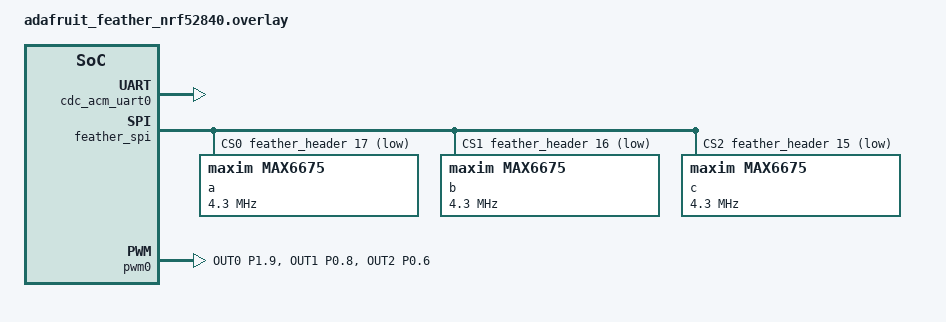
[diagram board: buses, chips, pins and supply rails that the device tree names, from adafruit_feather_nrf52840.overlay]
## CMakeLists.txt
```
#
# Copyright (c) 2020 Nordic Semiconductor ASA
#
# SPDX-License-Identifier: LicenseRef-Nordic-5-Clause
#
cmake_minimum_required(VERSION 3.20.0)

find_package(Zephyr REQUIRED HINTS $ENV{ZEPHYR_BASE})

project(openthread_coap_client)

# NORDIC SDK APP START
FILE(GLOB app_sources src/*.c)
target_sources(app PRIVATE ${app_sources})

target_include_directories(app PUBLIC ../coap_server/interface)
# NORDIC SDK APP END

target_sources_ifdef(CONFIG_BT_NUS app PRIVATE src/ble_utils.c)
```

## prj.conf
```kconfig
#
# Copyright (c) 2020 Nordic Semiconductor
#
# SPDX-License-Identifier: LicenseRef-Nordic-5-Clause
#

# nRF board library
CONFIG_DK_LIBRARY=y

# Enable CoAP utils and CoAP protocol
CONFIG_COAP_UTILS=y

# Configure sample logging setting
CONFIG_LOG=y
CONFIG_COAP_CLIENT_LOG_LEVEL_DBG=y
CONFIG_COAP_CLIENT_UTILS_LOG_LEVEL_DBG=y
CONFIG_COAP_UTILS_LOG_LEVEL_DBG=y
CONFIG_OPENTHREAD_LOG_LEVEL_NOTE=y
CONFIG_OPENTHREAD_DEBUG=y

# Adjust log strdup settings

# Generic networking options
CONFIG_NETWORKING=y

# L2 OpenThread enabling
CONFIG_NET_L2_OPENTHREAD=y

# Network shell
CONFIG_SHELL=y
CONFIG_OPENTHREAD_SHELL=y
CONFIG_SHELL_ARGC_MAX=26
CONFIG_SHELL_CMD_BUFF_SIZE=416

# Network sockets
CONFIG_NET_SOCKETS=y
CONFIG_NET_SOCKETS_POSIX_NAMES=y
CONFIG_NET_SOCKETS_POLL_MAX=4

# Same network Master Key for client and server
CONFIG_OPENTHREAD_NETWORKKEY="00:11:22:33:44:55:66:77:88:99:aa:bb:cc:dd:ee:ff"

CONFIG_ASSERT=y
CONFIG_ASSERT_NO_COND_INFO=y
CONFIG_MBEDTLS_SHA1_C=n
CONFIG_FPU=y

#Other OpenThread settings

CONFIG_OPENTHREAD_DNS_CLIENT=y
CONFIG_OPENTHREAD_SLAAC=y
CONFIG_NET_IF_UNICAST_IPV6_ADDR_COUNT=6

#Peripheral settings
CONFIG_COUNTER=y
CONFIG_COUNTER_RTC2=y
CONFIG_ISR_STACK_SIZE=2048
CONFIG_MAIN_STACK_SIZE=2560
CONFIG_SYSTEM_WORKQUEUE_STACK_SIZE= 2560

#Thread/stack debug settings
CONFIG_THREAD_ANALYZER=y
CONFIG_THREAD_ANALYZER_AUTO=n
CONFIG_THREAD_ANALYZER_ISR_STACK_USAGE=y
CONFIG_THREAD_ANALYZER_USE_LOG=y
CONFIG_THREAD_NAME=n
```

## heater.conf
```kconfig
CONFIG_CBPRINTF_FP_SUPPORT=y
CONFIG_SPI=y
CONFIG_SENSOR=y
CONFIG_GPIO=y
CONFIG_PWM=y

CONFIG_LOG_MODE_DEFERRED=y

#everything below added from other samples
CONFIG_SERIAL=y
CONFIG_CONSOLE=y
CONFIG_UART_CONSOLE=y
CONFIG_UART_LINE_CTRL=y

CONFIG_SHELL_BACKEND_SERIAL_INIT_PRIORITY=51

#USB fuckery configs
CONFIG_UART_LINE_CTRL=y
#CONFIG_SHELL_BACKEND_SERIAL_CHECK_DTR=y
CONFIG_USB_CDC_ACM_LOG_LEVEL_OFF=n

CONFIG_USB_DEVICE_STACK=y
CONFIG_USB_DEVICE_REMOTE_WAKEUP=n
CONFIG_USB_DEVICE_MANUFACTURER="Nordic Semiconductor ASA"
CONFIG_USB_DEVICE_PRODUCT="Thermocouple CLI"
CONFIG_USB_DEVICE_VID=0x1915
CONFIG_USB_DEVICE_PID=0x0000
```

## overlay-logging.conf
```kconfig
#
# Copyright (c) 2022 Nordic Semiconductor
#
# SPDX-License-Identifier: LicenseRef-Nordic-5-Clause

# Enable net module logging
# CONFIG_NET_LOG=y
# Option for configuring log level in net config library
# CONFIG_NET_CONFIG_LOG_LEVEL_INF=y

# Option for configuring log level in Zephyr L2 logging
# CONFIG_OPENTHREAD_L2_DEBUG=y
# CONFIG_OPENTHREAD_L2_LOG_LEVEL_DBG=y
# CONFIG_OPENTHREAD_L2_DEBUG_DUMP_15_4=y
# CONFIG_OPENTHREAD_L2_DEBUG_DUMP_IPV6=y

# Option for configuring log level in OpenThread
CONFIG_OPENTHREAD_LOG_LEVEL_INFO=y
```

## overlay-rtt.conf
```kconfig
#
# Copyright (c) 2022 Nordic Semiconductor
#
# SPDX-License-Identifier: LicenseRef-Nordic-5-Clause
#

# Enable RTT logging backend
CONFIG_USE_SEGGER_RTT=y
CONFIG_LOG_BACKEND_RTT=y

# Disable UART logging backend
CONFIG_LOG_BACKEND_UART=n
CONFIG_SHELL_LOG_BACKEND=n
```

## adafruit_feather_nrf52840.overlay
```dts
// To get started, press Ctrl+Space to bring up the completion menu and view the available nodes.

// You can also use the buttons in the sidebar to perform actions on nodes.
// Actions currently available include:

// * Enabling / disabling the node
// * Adding the bus to a bus
// * Removing the node
// * Connecting ADC channels

// For more help, browse the DeviceTree documentation at https://docs.zephyrproject.org/latest/guides/dts/index.html
// You can also visit the nRF DeviceTree extension documentation at https://nrfconnect.github.io/vscode-nrf-connect/devicetree/nrfdevicetree.html

/ {
	chosen {
		zephyr,shell-uart = &cdc_acm_uart0;
    zephyr,entropy = &rng;
	};
};

&zephyr_udc0 {
	cdc_acm_uart0: cdc_acm_uart0 {
		compatible = "zephyr,cdc-acm-uart";
		label = "CDC_ACM_0";
	};
};

&feather_spi {
	
	status = "okay";
    cs-gpios = <&feather_header 17 GPIO_ACTIVE_LOW>, /* D10, P0.27 */
	             <&feather_header 16 GPIO_ACTIVE_LOW>, /* D9, P0.26 */
               <&feather_header 15 GPIO_ACTIVE_LOW>; /* D6, P0.07 */
	a: max6675@0 {
		compatible = "maxim,max6675";
		reg = <0>;
		spi-max-frequency = <4300000>;
	};

	b: max6675@1 {
		compatible = "maxim,max6675";
		reg = <1>;
		spi-max-frequency = <4300000>;
	};

  c: max6675@2 {
		compatible = "maxim,max6675";
		reg = <2>;
		spi-max-frequency = <4300000>;
	};
};

&pwm0{
    status = "okay";
    pinctrl-0 = <&pwm0_default>;
    pinctrl-1 = <&pwm0_sleep>;
    pinctrl-names = "default", "sleep";
};

&pinctrl {
    pwm0_default: pwm0_default {
      group1 {
          psels = < NRF_PSEL(PWM_OUT0, 1, 9)>,
                  < NRF_PSEL(PWM_OUT1, 0, 8)>,
                  < NRF_PSEL(PWM_OUT2, 0, 6)>;
          nordic,invert;
      };
    };  
  
    pwm0_sleep: pwm0_sleep {
      group1 {
          psels = < NRF_PSEL(PWM_OUT0, 1, 9)>,
                  < NRF_PSEL(PWM_OUT1, 1, 8)>,
                  < NRF_PSEL(PWM_OUT1, 0, 6)>;
          low-power-enable;
      };
    };
  };
```

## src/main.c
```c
/*
 * Copyright (c) 2016 Intel Corporation
 *
 * SPDX-License-Identifier: Apache-2.0
 */

#include <zephyr/zephyr.h>
#include <zephyr/device.h>
#include <zephyr/drivers/gpio.h>
#include <zephyr/drivers/pwm.h>
#include <zephyr/drivers/sensor.h>

/* Included these for USB bla bla*/

#include <zephyr/drivers/uart.h>
#include <zephyr/usb/usb_device.h>
#include <zephyr/sys/printk.h>

#include <zephyr/logging/log.h>
LOG_MODULE_DECLARE(coap_client_utils);

/*Coap client stuff*/
#include "coap_client.h                                                        "

#include <stdlib.h>
#include <time.h>

/* 1000 msec = 1 sec */
#define SLEEP_TIME_MS  1350

/* The devicetree node identifier for the "led0" alias. */
#define LED1_NODE DT_ALIAS(led1)

/*
 * A build error on this line means your board is unsupported.
 * See the sample documentation for information on how to fix this.
 */

static const struct gpio_dt_spec led = GPIO_DT_SPEC_GET(LED1_NODE, gpios);


// PWM function
void heater_setting(const struct device *dev, float duty, uint8_t channel){
	int ret;

	// Set freq to 1khz, 1 million nanoseconds period
	uint32_t period = 1000000;

	// Duty is set in %, so 100 means pulse width is full
	float duty_pct = duty/100.0;
	uint32_t pulse = duty_pct*period;

	pwm_set(dev, channel, period, pulse, PWM_POLARITY_INVERTED);

	// Turn LED on if heating is on
	if (!device_is_ready(led.port)) {
		return;
	}

	ret = gpio_pin_configure_dt(&led, GPIO_OUTPUT_ACTIVE);
	if (ret < 0) {
		return;
	}
	if (duty > 0){
		ret = gpio_pin_set_dt(&led, 1);
	}
	else{
		ret = gpio_pin_set_dt(&led, 0);
	}
}


void main(void)
{	
	/*Init coap fuckery*/
	coap_client_init();

	/* CONFIGURE THE GPIO PINS FOR HEATER OUTPUT*/

	/* PINOUTS
	Same PWM controller used to control all heaters
	HEATER 1 = D13, P1.09
	HEATER 2 = D12, P0.08
	HEATER 3 = D11, P0.06

	THERMOCOUPLE 1 = D10, P0.27
	THERMOCOUPLE 2 = D9, P0.26
	THERMOCOUPLE 3 = D6, P0.07
	*/

	const struct device *heater1 = DEVICE_DT_GET(DT_NODELABEL(pwm0));

	/* CONFIGURE SPI FOR THERMOCOUPLES */
	const struct device *thermocouple_1 = DEVICE_DT_GET(DT_NODELABEL(a));
	struct sensor_value val1;
	const struct device *dev2 = DEVICE_DT_GET(DT_NODELABEL(b));
	struct sensor_value val2;
	const struct device *dev3 = DEVICE_DT_GET(DT_NODELABEL(c));
	struct sensor_value val3;

	/*USB fuckery starts here*/
	const struct device *usb_dev = DEVICE_DT_GET(DT_CHOSEN(zephyr_shell_uart));
	uint32_t dtr = 0;

	if (usb_enable(NULL)) {
		return;
	}

	/* Poll if the DTR flag was set */
	// while (!dtr) {
	// 	uart_line_ctrl_get(usb_dev, UART_LINE_CTRL_DTR, &dtr);
	// 	/* Give CPU resources to low priority threads. */
	// 	k_sleep(K_MSEC(100));
	// }

	/*USB fuckery ends here*/

	if (!device_is_ready(thermocouple_1)) {
		printk("sensor: device not ready.\n");
		return;
	}

	int ret;

	if (!device_is_ready(led.port)) {
		return;
	}

	ret = gpio_pin_configure_dt(&led, GPIO_OUTPUT_ACTIVE);
	if (ret < 0) {
		return;
	}

	float target;
	float error, previous_error;
	float p, i, d;
	i = 0; // set integral to 0 a t the beginning
	// Ku = 32.0
	float k_p = 19.2;
	float k_i = 0;
	float k_d = 6;
	float duty;

	float elapsed_time = 1.35+0.02+0.02+0.02;

	while (1) {
		/*Target temp retrieval*/
		target = retrieve_stored_target_temp();

		/* Getting the temperature */
		int ret1;

		ret1 = sensor_sample_fetch_chan(thermocouple_1, SENSOR_CHAN_AMBIENT_TEMP);
		if (ret1 < 0) {
			printk("Could not fetch temperature (%d)\n", ret);
			return;
		}

		ret1 = sensor_channel_get(thermocouple_1, SENSOR_CHAN_AMBIENT_TEMP, &val1);
		if (ret1 < 0) {
			printk("Could not get temperature (%d)\n", ret);
			return;
		}

		k_msleep(20); // Wait for 10ms for getting values

		double one = sensor_value_to_double(&val1);
		k_msleep(20); // Wait for 10ms for calculations

		// PID stuff
		error = target-one;
		p = error;
		i = i + error*elapsed_time; //dt = 20ms + 20ms + 20ms + 1350ms
		if (abs(i) > 30){
			if(i > 0)
				i = 30;
			else
				i = -30;
		}

		if(one > 50)
			i = 0; // reset i if comms error

		d = (error-previous_error)/elapsed_time;

		duty = k_p*p + k_i*i + k_d*d;
		if(duty >= 100)
			duty = 100;
		else if (duty < 0)
			duty = 0;

		previous_error = error;
		k_msleep(20); // Wait for 10ms for getting values

		heater_setting(heater1, duty, 0);
		heater_setting(heater1, duty, 1);
		heater_setting(heater1, duty, 2);

		LOG_INF("$%f %f %f;", one, target, duty);

		k_msleep(SLEEP_TIME_MS);
	}
}
```

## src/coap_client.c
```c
/*
 * Copyright (c) 2020 Nordic Semiconductor ASA
 *
 * SPDX-License-Identifier: LicenseRef-Nordic-5-Clause
 */

#include <zephyr/kernel.h>
#include <dk_buttons_and_leds.h>
#include <zephyr/logging/log.h>
#include <ram_pwrdn.h>
#include <zephyr/device.h>
#include <zephyr/pm/device.h>

#include <zephyr/drivers/counter.h>
#include <zephyr/drivers/i2c.h>

#include "coap_client_utils.h"

LOG_MODULE_DECLARE(coap_client_utils);

#define OT_CONNECTION_LED DK_LED1
#define COUNTER_LED DK_LED2
#define MTD_SED_LED DK_LED3

#define ALARM_DELAY 1000000 /*1 second, units for function is usec*/
#define ALARM_CHANNEL 0

static bool isLedOn = 0;

static void on_ot_connect(struct k_work *item)
{
	ARG_UNUSED(item);

	dk_set_led_on(OT_CONNECTION_LED);
}

static void on_ot_disconnect(struct k_work *item)
{
	ARG_UNUSED(item);

	dk_set_led_off(OT_CONNECTION_LED);
}

static void on_mtd_mode_toggle(uint32_t med)
{
#if IS_ENABLED(CONFIG_PM_DEVICE)
	const struct device *cons = DEVICE_DT_GET(DT_CHOSEN(zephyr_console));

	if (!device_is_ready(cons)) {
		return;
	}

	if (med) {
		pm_device_action_run(cons, PM_DEVICE_ACTION_RESUME);
	} else {
		pm_device_action_run(cons, PM_DEVICE_ACTION_SUSPEND);
	}
#endif
	dk_set_led(MTD_SED_LED, med);
}

static counter_top_callback_t submit_new_temperature_work (const struct device *dev, void *user_data){
	ARG_UNUSED(user_data);
	//printk("countering every second!\n");
	dk_set_led(COUNTER_LED, !isLedOn); 
	isLedOn = !isLedOn;

	if (isProvisioned()){
		coap_client_get_new_target_temp();
	}
}

float retrieve_stored_target_temp(void){
	return coap_utils_retrieve_stored_target_temp();
}

void coap_client_init(void)
{
	int ret;

	LOG_INF("Start CoAP-client sample");
	printk("Start CoAP-client sample");

	if (IS_ENABLED(CONFIG_RAM_POWER_DOWN_LIBRARY)) {
		power_down_unused_ram();
	}

	ret = dk_leds_init();
	if (ret) {
		LOG_ERR("Cannot init leds, (error: %d)", ret);
		return;
	}

	const struct device* rtc_dev = DEVICE_DT_GET(DT_NODELABEL(rtc2));
	counter_stop(rtc_dev);
	struct counter_top_cfg counter_cfg;
	counter_cfg.ticks = counter_us_to_ticks(rtc_dev, 5*ALARM_DELAY);
	counter_cfg.callback = submit_new_temperature_work;
	counter_cfg.user_data = &counter_cfg;
	ret = counter_set_top_value(rtc_dev, &counter_cfg);


	if (-EINVAL == ret) {
		printk("Alarm settings invalid\n");
	} else if (-ENOTSUP == ret) {
		printk("Alarm setting request not supported\n");
	} else if (ret != 0) {
		printk("Error\n");
	}

	coap_client_utils_init(on_ot_connect, on_ot_disconnect,
			       on_mtd_mode_toggle);

	while (!isProvisioned()){
		coap_client_send_provisioning_request();
		printk("waiting for provisioning");
		k_sleep(K_SECONDS(10));
	}
	counter_start(rtc_dev);
}
```

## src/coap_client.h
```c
#ifndef _COAP_CLIENT_H__
#define _COAP_CLIENT_H__

void coap_client_init(void);

float retrieve_stored_target_temp(void);

#endif
```

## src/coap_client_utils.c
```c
/*
 * Copyright (c) 2020 Nordic Semiconductor ASA
 *
 * SPDX-License-Identifier: LicenseRef-Nordic-5-Clause
 */

#include <zephyr/kernel.h>

#include <net/coap_utils.h>
#include <zephyr/logging/log.h>
#include <zephyr/net/openthread.h>
#include <zephyr/net/socket.h>
#include <openthread/thread.h>

#include <stdlib.h>

#include <zephyr/debug/thread_analyzer.h>

#include "coap_server_client_interface.h"
#include "coap_client_utils.h"

LOG_MODULE_REGISTER(coap_client_utils, CONFIG_COAP_CLIENT_UTILS_LOG_LEVEL);

#define RESPONSE_POLL_PERIOD 100

static uint32_t poll_period;

static bool is_connected;

// static struct k_work send_sensor_data_work;
static struct k_work toggle_MTD_SED_work;
static struct k_work on_connect_work;
static struct k_work on_disconnect_work;

//Testing for implementing k_work object as a member of a parent struct
//Ease passing of data to the function
//Contains k_work object inside as well

static struct work_var_container provisioning_container;
static struct work_heater_container target_temp_data_container = {
	.target_temperature = 40.0
};

mtd_mode_toggle_cb_t on_mtd_mode_toggle;

/* Options supported by the server */
static const char *const node_option[] = { NODE1_URI_PATH, NULL };
static const char *const provisioning_option[] = { PROVISIONING_URI_PATH, NULL };
static const char *const heater_option[] = { HEATER_URI_PATH, NULL };

/* Thread multicast mesh local address */
static struct sockaddr_in6 multicast_local_addr = {
	.sin6_family = AF_INET6,
	.sin6_port = htons(COAP_PORT),
	.sin6_addr.s6_addr = { 0xff, 0x03, 0x00, 0x00, 0x00, 0x00, 0x00, 0x00,
			       0x00, 0x00, 0x00, 0x00, 0x00, 0x00, 0x00, 0x01 },
	.sin6_scope_id = 0U
};

/* Variable for storing server address acquiring in provisioning handshake */
static char unique_local_addr_str[INET6_ADDRSTRLEN] = {0};
static struct sockaddr_in6 unique_local_addr = {
	.sin6_family = AF_INET6,
	.sin6_port = htons(COAP_PORT),
	.sin6_addr.s6_addr = { 0xff, 0x03, 0x00, 0x00, 0x00, 0x00, 0x00, 0x00,
			       0x00, 0x00, 0x00, 0x00, 0x00, 0x00, 0x00, 0x01 },
	.sin6_scope_id = 0U
};

static bool is_mtd_in_med_mode(otInstance *instance)
{
	return otThreadGetLinkMode(instance).mRxOnWhenIdle;
}

static void poll_period_response_set(void)
{
	otError error;

	otInstance *instance = openthread_get_default_instance();

	if (is_mtd_in_med_mode(instance)) {
		return;
	}

	if (!poll_period) {
		poll_period = otLinkGetPollPeriod(instance);

		error = otLinkSetPollPeriod(instance, RESPONSE_POLL_PERIOD);
		__ASSERT(error == OT_ERROR_NONE, "Failed to set pool period");

		LOG_INF("Poll Period: %dms set", RESPONSE_POLL_PERIOD);
	}
}

static void poll_period_restore(void)
{
	otError error;
	otInstance *instance = openthread_get_default_instance();

	if (is_mtd_in_med_mode(instance)) {
		return;
	}

	if (poll_period) {
		error = otLinkSetPollPeriod(instance, poll_period);
		__ASSERT_NO_MSG(error == OT_ERROR_NONE);

		LOG_INF("Poll Period: %dms restored", poll_period);
		poll_period = 0;
	}
}

static int on_provisioning_reply(const struct coap_packet *response,
				 struct coap_reply *reply,
				 const struct sockaddr *from)
{
	int ret = 0;
	const uint8_t *payload;
	uint16_t payload_size = 0u;
	
	//Testing for printing out IPaddr from OT
	// otInstance *instance = openthread_get_default_instance();
	// void * ipaddr_ot = otThreadGetMeshLocalEid(instance);
	// int ipaddr_size = sizeof(otIp6Address);
	// LOG_HEXDUMP_INF(ipaddr_ot, ipaddr_size, "IP address");

	ARG_UNUSED(reply);
	ARG_UNUSED(from);

	payload = coap_packet_get_payload(response, &payload_size);

	if (payload == NULL) {
		LOG_ERR("No data received");
		ret = -EINVAL;
		goto exit;
	}
	
	// LOG_INF("Payload received: %s", payload);
	// LOG_INF("Payload size: %d", payload_size);

	//Convert the payload from ASCII encoded characters into literal integers
	//Process is performed in 2 byte char fragments turning into 1 byte uint8:

	// if (payload_size != 32) {
	// 	LOG_ERR("Questionable data format received");
	// 	ret = -EINVAL;
	// 	goto exit;
	// }

	// uint8_t ipaddr_int [16];
	// for(int i = 0; i < (payload_size/2); i++){
	// 	char* unused_ptr;
	// 	char payload_fragment [2];

	// 	memcpy(&payload_fragment, payload+(2*i), 2);
	// 	ipaddr_int[i] = strtol(payload_fragment, &unused_ptr, 16);
	// }

	// LOG_HEXDUMP_INF(ipaddr_int, 16, "Fully converted IP fragment");
	//LOG_INF("%s",payload);
	if (!inet_pton(AF_INET6, payload, &unique_local_addr.sin6_addr)){
		LOG_ERR("Received data is not IPv6 address: %d", errno);
		ret = -errno;
		goto exit;
	}
	memcpy(unique_local_addr_str, payload, payload_size);

	LOG_INF("Received peer address: %s", unique_local_addr_str);

exit:
	if (IS_ENABLED(CONFIG_OPENTHREAD_MTD_SED)) {
		poll_period_restore();
	}

	return ret;
}

static void send_provisioning_request(struct k_work *item)
{
	if (IS_ENABLED(CONFIG_OPENTHREAD_MTD_SED)) {
		/* decrease the polling period for higher responsiveness */
		poll_period_response_set();
	}

	LOG_INF("Send 'provisioning' request");
	coap_send_request(COAP_METHOD_GET,
			  (const struct sockaddr *)&multicast_local_addr,
			  provisioning_option, NULL, 0u, on_provisioning_reply);
}

static int on_get_new_target_reply(const struct coap_packet *response,
				 struct coap_reply *reply,
				 const struct sockaddr *from){
	int ret = 0;
	const uint8_t *payload;
	char new_target_string[8];
	uint16_t payload_size = 0u;
	
	ARG_UNUSED(reply);
	ARG_UNUSED(from);

	payload = coap_packet_get_payload(response, &payload_size);

	if (payload == NULL) {
		LOG_ERR("No data received");
		ret = -EINVAL;
		goto exit;
	}
	memcpy(new_target_string, payload, payload_size);
	target_temp_data_container.target_temperature = strtof(new_target_string,NULL);
	LOG_INF("retrieved string: %s, new target: %f", new_target_string, target_temp_data_container.target_temperature);
	exit:
	return ret;
}

static void send_new_target_request(struct k_work *item)
{
	if (unique_local_addr.sin6_addr.s6_addr16[0] == 0) {
		LOG_WRN("Peer address not set. Activate 'provisioning' option "
			"on the server side");
		return;
	}

	LOG_INF("Send 'new target temp' request to: %s", unique_local_addr_str);
	//thread_analyzer_print();
	coap_send_request(COAP_METHOD_GET,
			  (const struct sockaddr *)&unique_local_addr,
			  heater_option, NULL, 0u, on_get_new_target_reply);
}

static void toggle_minimal_sleepy_end_device(struct k_work *item)
{
	otError error;
	otLinkModeConfig mode;
	struct openthread_context *context = openthread_get_default_context();

	__ASSERT_NO_MSG(context != NULL);

	openthread_api_mutex_lock(context);
	mode = otThreadGetLinkMode(context->instance);
	mode.mRxOnWhenIdle = !mode.mRxOnWhenIdle;
	error = otThreadSetLinkMode(context->instance, mode);
	openthread_api_mutex_unlock(context);

	if (error != OT_ERROR_NONE) {
		LOG_ERR("Failed to set MLE link mode configuration");
	} else {
		on_mtd_mode_toggle(mode.mRxOnWhenIdle);
	}
}

static void update_device_state(void)
{
	struct otInstance *instance = openthread_get_default_instance();
	otLinkModeConfig mode = otThreadGetLinkMode(instance);
	on_mtd_mode_toggle(mode.mRxOnWhenIdle);
}

static void on_thread_state_changed(uint32_t flags, void *context)
{
	struct openthread_context *ot_context = context;

	if (flags & OT_CHANGED_THREAD_ROLE) {
		switch (otThreadGetDeviceRole(ot_context->instance)) {
		case OT_DEVICE_ROLE_CHILD:
		case OT_DEVICE_ROLE_ROUTER:
		case OT_DEVICE_ROLE_LEADER:
			k_work_submit(&on_connect_work);
			is_connected = true;
			break;

		case OT_DEVICE_ROLE_DISABLED:
		case OT_DEVICE_ROLE_DETACHED:
		default:
			k_work_submit(&on_disconnect_work);
			is_connected = false;
			break;
		}
	}
}

static void submit_work_if_connected(struct k_work *work)
{
	if (is_connected) {
		k_work_submit(work);
	} else {
		LOG_INF("Connection is broken");
	}
}

bool isProvisioned(){
	return unique_local_addr_str[0];
}

float coap_utils_retrieve_stored_target_temp(void){
	return target_temp_data_container.target_temperature;
}

void coap_client_utils_init(ot_connection_cb_t on_connect,
			    ot_disconnection_cb_t on_disconnect,
			    mtd_mode_toggle_cb_t on_toggle)
{
	on_mtd_mode_toggle = on_toggle;

	coap_init(AF_INET6, NULL);

	k_work_init(&on_connect_work, on_connect);
	k_work_init(&on_disconnect_work, on_disconnect);
	k_work_init(&target_temp_data_container.work_obj, send_new_target_request);
	k_work_init(&provisioning_container.work_obj, send_provisioning_request);

	openthread_set_state_changed_cb(on_thread_state_changed);
	openthread_start(openthread_get_default_context());

	if (IS_ENABLED(CONFIG_OPENTHREAD_MTD_SED)) {
		k_work_init(&toggle_MTD_SED_work,
			    toggle_minimal_sleepy_end_device);
		update_device_state();
	}
}

void coap_client_get_new_target_temp(uint16_t temperature_data, uint16_t humidity_data)
{
	submit_work_if_connected(&target_temp_data_container.work_obj);
}

void coap_client_send_provisioning_request(void)
{
	submit_work_if_connected(&provisioning_container.work_obj);
}

void coap_client_toggle_minimal_sleepy_end_device(void)
{
	if (IS_ENABLED(CONFIG_OPENTHREAD_MTD_SED)) {
		k_work_submit(&toggle_MTD_SED_work);
	}
}
```

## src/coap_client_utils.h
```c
/**
 * @file
 * @defgroup coap_client_utils API for coap_client_* samples
 * @{
 */

/*
 * Copyright (c) 2020 Nordic Semiconductor ASA
 *
 * SPDX-License-Identifier: LicenseRef-Nordic-5-Clause
 */

#ifndef __COAP_CLIENT_UTILS_H__
#define __COAP_CLIENT_UTILS_H__

/** @brief Struct for implementing k_work object as a member of a parent struct 
 * to enable passing of data to the function
 *
 *  
 */

struct work_var_container{
	struct k_work 	work_obj; 		/*Store the work object here*/
	char* 		testing_data;	/*Store the testing data here*/
};

struct work_heater_container{
	struct k_work 	work_obj; 		/*Store the work object here*/
	float 		target_temperature;	/*Store the target temp here*/
};

/** @brief Type indicates function called when OpenThread connection
 *         is established.
 *
 * @param[in] item pointer to work item.
 */
typedef void (*ot_connection_cb_t)(struct k_work *item);

/** @brief Type indicates function called when OpenThread connection is ended.
 *
 * @param[in] item pointer to work item.
 */
typedef void (*ot_disconnection_cb_t)(struct k_work *item);

/** @brief Type indicates function called when the MTD modes are toggled.
 *
 * @param[in] val 1 if the MTD is in MED mode
 *                0 if the MTD is in SED mode
 */
typedef void (*mtd_mode_toggle_cb_t)(uint32_t val);

/** @brief Initialize CoAP client utilities.
 */
void coap_client_utils_init(ot_connection_cb_t on_connect,
			    ot_disconnection_cb_t on_disconnect,
			    mtd_mode_toggle_cb_t on_toggle);

/** @brief Toggle light on the CoAP server node.
 *
 * @note The CoAP server should be paired before to have an effect.
 */
void coap_client_send_sensor_data (uint16_t temperature_data, uint16_t humidity_data);


/** @brief Request for the CoAP server address to pair.
 *
 * @note Enable paring on the CoAP server to get the address.
 */
void coap_client_send_provisioning_request(void);

/** @brief Function to determine if successful provisioning was performed
 *  
 * @note Determined by checking byte-0 of IP address string, which is initialized to 0
 * After provisioning, the first byte is always set.
*/

bool isProvisioned(void);

/** @brief Function to retrieve value of new target temperature
 *  
 * @note Determined by checking byte-0 of IP address string, which is initialized to 0
 * After provisioning, the first byte is always set.
*/
float coap_utils_retrieve_stored_target_temp(void);

/** @brief Toggle SED to MED and MED to SED modes.
 *
 * @note Active when the device is working as Minimal Thread Device.
 */
void coap_client_toggle_minimal_sleepy_end_device(void);

#endif

/**
 * @}
 */
```

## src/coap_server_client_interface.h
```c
/*
 * Copyright (c) 2020 Nordic Semiconductor ASA
 *
 * SPDX-License-Identifier: LicenseRef-Nordic-5-Clause
 */

#ifndef __COAP_SERVER_CLIENT_INTRFACE_H__
#define __COAP_SERVER_CLIENT_INTRFACE_H__

#define COAP_PORT 5683

#define PROVISIONING_URI_PATH "provisioning" 
#define NODE1_URI_PATH "SensorNode1" 
#define NODE2_URI_PATH "SensorNode2" 
#define HEATER_URI_PATH "HeaterNode"

#endif
```
